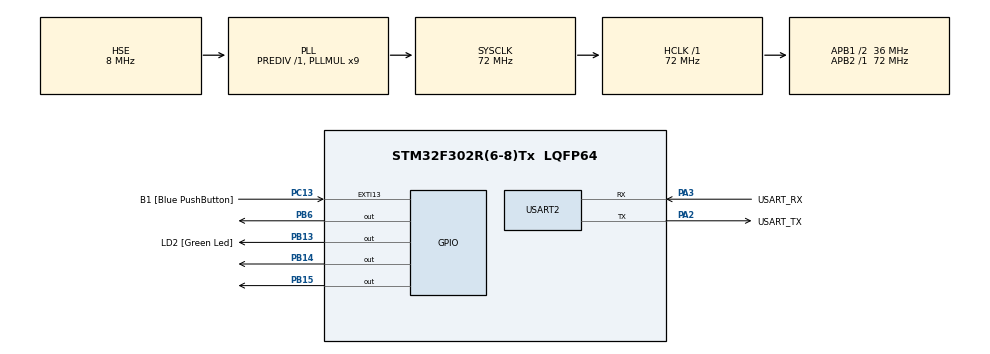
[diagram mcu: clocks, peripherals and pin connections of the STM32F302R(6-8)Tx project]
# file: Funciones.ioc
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Mcu.Family=STM32F3
Mcu.Name=STM32F302R(6-8)Tx
Mcu.Package=LQFP64
NVIC.PriorityGroup=NVIC_PRIORITYGROUP_0
PA13.GPIO_Label=TMS
PA13.Mode=Serial_Wire
PA13.Signal=SYS_JTMS-SWDIO
PA14.GPIO_Label=TCK
PA14.Mode=Serial_Wire
PA14.Signal=SYS_JTCK-SWCLK
PA2.GPIO_Label=USART_TX
PA2.GPIO_Mode=GPIO_MODE_AF_PP
PA2.GPIO_PuPd=GPIO_NOPULL
PA2.GPIO_Speed=GPIO_SPEED_FREQ_LOW
PA2.Mode=Asynchronous
PA2.Signal=USART2_TX
PA3.GPIO_Label=USART_RX
PA3.GPIO_Mode=GPIO_MODE_AF_PP
PA3.GPIO_PuPd=GPIO_NOPULL
PA3.GPIO_Speed=GPIO_SPEED_FREQ_LOW
PA3.Mode=Asynchronous
PA3.Signal=USART2_RX
PB13.GPIO_Label=LD2 [Green Led]
PB13.Signal=GPIO_Output
PB14.Signal=GPIO_Output
PB15.Signal=GPIO_Output
PB3.GPIO_Label=SWO
PB3.Mode=Trace_Asynchronous_SW
PB3.Signal=SYS_JTDO-TRACESWO
PB6.Signal=GPIO_Output
PC13.GPIO_Label=B1 [Blue PushButton]
PC13.GPIO_ModeDefaultEXTI=GPIO_MODE_IT_FALLING
PC13.Signal=GPXTI13
PC14\ -\ OSC32_IN.Signal=RCC_OSC32_IN
PC15\ -\ OSC32_OUT.Signal=RCC_OSC32_OUT
PF0-OSC_IN.Mode=HSE-External-Oscillator
PF0-OSC_IN.Signal=RCC_OSC_IN
PF1-OSC_OUT.Mode=HSE-External-Oscillator
PF1-OSC_OUT.Signal=RCC_OSC_OUT
ProjectManager.HeapSize=0x200
ProjectManager.StackSize=0x400
ProjectManager.TargetToolchain=STM32CubeIDE
RCC.AHBFreq_Value=72000000
RCC.APB1CLKDivider=RCC_HCLK_DIV2
RCC.APB1Freq_Value=36000000
RCC.APB1TimFreq_Value=72000000
RCC.APB2Freq_Value=72000000
RCC.APB2TimFreq_Value=72000000
RCC.CortexFreq_Value=72000000
RCC.HCLKFreq_Value=72000000
RCC.HSE_VALUE=8000000
RCC.HSI_VALUE=8000000
RCC.PLLM=8
RCC.PLLMUL=RCC_PLL_MUL9
RCC.PLLN=336
RCC.PLLP=RCC_PLLP_DIV4
RCC.PLLQ=7
RCC.PLLSourceVirtual=RCC_PLLSOURCE_HSE
RCC.SYSCLKFreq_VALUE=72000000
RCC.SYSCLKSourceVirtual=RCC_SYSCLKSOURCE_PLLCLK
RCC.USBFreq_Value=72000000
USART2.VirtualMode-Asynchronous=VM_ASYNC
board=NUCLEO-F302R8

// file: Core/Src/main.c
/* USER CODE BEGIN Header */
/**
  ******************************************************************************
  * @file           : main.c
  * @brief          : Main program body
  ******************************************************************************
  * @attention
  *
  * Copyright (c) 2023 STMicroelectronics.
  * All rights reserved.
  *
  * This software is licensed under terms that can be found in the LICENSE file
  * in the root directory of this software component.
  * If no LICENSE file comes with this software, it is provided AS-IS.
  *
  ******************************************************************************
  */
/* USER CODE END Header */
#include "main.h"
#include "math.h"
#include "stdio.h"
/* USER CODE BEGIN Includes */
#include "max_matrix_stm32.h"
/* USER CODE END Includes */

UART_HandleTypeDef huart2;

void SystemClock_Config(void);
static void MX_GPIO_Init(void);
static void MX_USART2_UART_Init(void);

/* USER CODE BEGIN 0 */
void generateSquareWave(int amp, int freq, uint8_t Y_shift, int gdh)
{
    float value;
    int a = amp * gdh;
    int b = freq;
    int ns = 100;

    for (int t = 0; t < ns; t++)
    {
        value = a * sin((b * t * 2 * M_PI) / (float)ns);
        value = value > 0 ? a : -a;
        value += (127 + Y_shift * gdh);

        // Mapear el valor a los píxeles de la matriz LED
        int pixelValue = (int)value;
        int row = t % 8;
        int column = t / 8;
        // Actualizar el valor del píxel en la matriz LED utilizando la función setled
        setled(row, column, pixelValue);
    }
}
/* USER CODE END 0 */

int main(void)
{

  /* MCU Configuration--------------------------------------------------------*/

  /* Reset of all peripherals, Initializes the Flash interface and the Systick. */
  HAL_Init();

  /* Configure the system clock */
  SystemClock_Config();

  /* Initialize all configured peripherals */
  MX_GPIO_Init();
  MX_USART2_UART_Init();
  /* USER CODE BEGIN 2 */
max_init(0x03);
  /* USER CODE END 2 */

  /* Infinite loop */
  while (1)
  {
generateSquareWave(5, 10, 2, 10);

  }
}

void SystemClock_Config(void)
{
  RCC_OscInitTypeDef RCC_OscInitStruct = {0};
  RCC_ClkInitTypeDef RCC_ClkInitStruct = {0};

  /** Initializes the RCC Oscillators according to the specified parameters
  * in the RCC_OscInitTypeDef structure.
  */
  RCC_OscInitStruct.OscillatorType = RCC_OSCILLATORTYPE_HSE;
  RCC_OscInitStruct.HSEState = RCC_HSE_ON;
  RCC_OscInitStruct.HSEPredivValue = RCC_HSE_PREDIV_DIV1;
  RCC_OscInitStruct.HSIState = RCC_HSI_ON;
  RCC_OscInitStruct.PLL.PLLState = RCC_PLL_ON;
  RCC_OscInitStruct.PLL.PLLSource = RCC_PLLSOURCE_HSE;
  RCC_OscInitStruct.PLL.PLLMUL = RCC_PLL_MUL9;
  if (HAL_RCC_OscConfig(&RCC_OscInitStruct) != HAL_OK)
  {
    Error_Handler();
  }

  /** Initializes the CPU, AHB and APB buses clocks
  */
  RCC_ClkInitStruct.ClockType = RCC_CLOCKTYPE_HCLK|RCC_CLOCKTYPE_SYSCLK
                              |RCC_CLOCKTYPE_PCLK1|RCC_CLOCKTYPE_PCLK2;
  RCC_ClkInitStruct.SYSCLKSource = RCC_SYSCLKSOURCE_PLLCLK;
  RCC_ClkInitStruct.AHBCLKDivider = RCC_SYSCLK_DIV1;
  RCC_ClkInitStruct.APB1CLKDivider = RCC_HCLK_DIV2;
  RCC_ClkInitStruct.APB2CLKDivider = RCC_HCLK_DIV1;

  if (HAL_RCC_ClockConfig(&RCC_ClkInitStruct, FLASH_LATENCY_2) != HAL_OK)
  {
    Error_Handler();
  }
}

static void MX_USART2_UART_Init(void)
{

  huart2.Instance = USART2;
  huart2.Init.BaudRate = 38400;
  huart2.Init.WordLength = UART_WORDLENGTH_8B;
  huart2.Init.StopBits = UART_STOPBITS_1;
  huart2.Init.Parity = UART_PARITY_NONE;
  huart2.Init.Mode = UART_MODE_TX_RX;
  huart2.Init.HwFlowCtl = UART_HWCONTROL_NONE;
  huart2.Init.OverSampling = UART_OVERSAMPLING_16;
  huart2.Init.OneBitSampling = UART_ONE_BIT_SAMPLE_DISABLE;
  huart2.AdvancedInit.AdvFeatureInit = UART_ADVFEATURE_NO_INIT;
  if (HAL_UART_Init(&huart2) != HAL_OK)
  {
    Error_Handler();
  }

}

static void MX_GPIO_Init(void)
{
  GPIO_InitTypeDef GPIO_InitStruct = {0};

  /* GPIO Ports Clock Enable */
  __HAL_RCC_GPIOC_CLK_ENABLE();
  __HAL_RCC_GPIOF_CLK_ENABLE();
  __HAL_RCC_GPIOA_CLK_ENABLE();
  __HAL_RCC_GPIOB_CLK_ENABLE();

  /*Configure GPIO pin Output Level */
  HAL_GPIO_WritePin(GPIOB, LD2_Pin|GPIO_PIN_14|GPIO_PIN_15|GPIO_PIN_6, GPIO_PIN_RESET);

  /*Configure GPIO pin : B1_Pin */
  GPIO_InitStruct.Pin = B1_Pin;
  GPIO_InitStruct.Mode = GPIO_MODE_IT_FALLING;
  GPIO_InitStruct.Pull = GPIO_NOPULL;
  HAL_GPIO_Init(B1_GPIO_Port, &GPIO_InitStruct);

  /*Configure GPIO pins : LD2_Pin PB14 PB15 PB6 */
  GPIO_InitStruct.Pin = LD2_Pin|GPIO_PIN_14|GPIO_PIN_15|GPIO_PIN_6;
  GPIO_InitStruct.Mode = GPIO_MODE_OUTPUT_PP;
  GPIO_InitStruct.Pull = GPIO_NOPULL;
  GPIO_InitStruct.Speed = GPIO_SPEED_FREQ_LOW;
  HAL_GPIO_Init(GPIOB, &GPIO_InitStruct);

}

void Error_Handler(void)
{
  __disable_irq();
  while (1)
  {
  }
}
